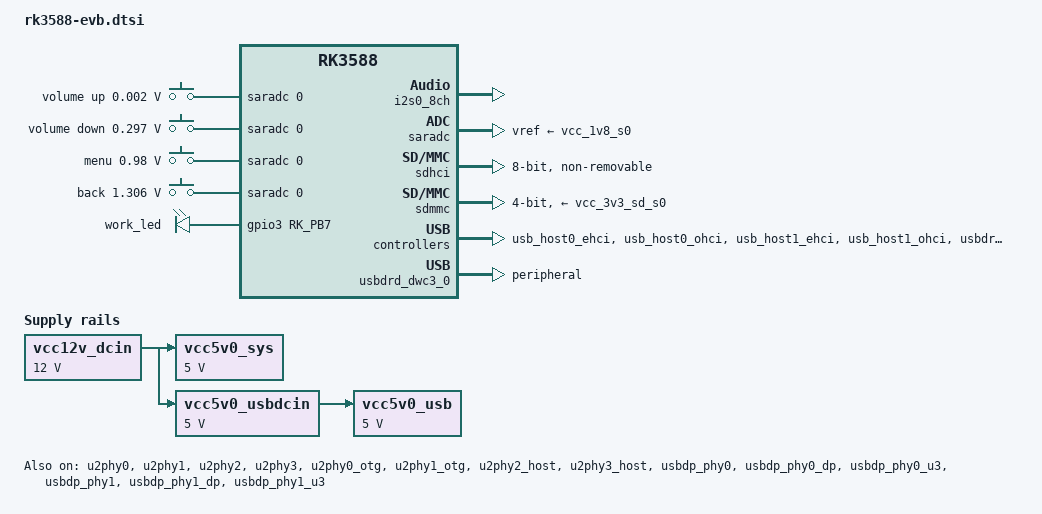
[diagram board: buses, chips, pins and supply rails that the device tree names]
// SPDX-License-Identifier: (GPL-2.0+ OR MIT)
/*
 * Copyright (c) 2021 Rockchip Electronics Co., Ltd.
 *
 */

#include <dt-bindings/gpio/gpio.h>
#include <dt-bindings/pwm/pwm.h>
#include <dt-bindings/pinctrl/rockchip.h>
#include <dt-bindings/input/rk-input.h>
#include <dt-bindings/display/drm_mipi_dsi.h>
#include <dt-bindings/sensor-dev.h>

/ {
	adc_keys: adc-keys {
		compatible = "adc-keys";
		io-channels = <&saradc 0>;
		io-channel-names = "buttons";
		keyup-threshold-microvolt = <1800000>;
		poll-interval = <100>;

		vol-up-key {
			label = "volume up";
			linux,code = <KEY_VOLUMEUP>;
			press-threshold-microvolt = <1750>;
		};

		vol-down-key {
			label = "volume down";
			linux,code = <KEY_VOLUMEDOWN>;
			press-threshold-microvolt = <297500>;
		};

		menu-key {
			label = "menu";
			linux,code = <KEY_MENU>;
			press-threshold-microvolt = <980000>;
		};

		back-key {
			label = "back";
			linux,code = <KEY_BACK>;
			press-threshold-microvolt = <1305500>;
		};
	};

	leds: leds {
		compatible = "gpio-leds";
		work_led: work {
			gpios = <&gpio3 RK_PB7 GPIO_ACTIVE_HIGH>;
			linux,default-trigger = "heartbeat";
		};
	};

	test-power {
		status = "okay";
	};

	vcc12v_dcin: vcc12v-dcin {
		compatible = "regulator-fixed";
		regulator-name = "vcc12v_dcin";
		regulator-always-on;
		regulator-boot-on;
		regulator-min-microvolt = <12000000>;
		regulator-max-microvolt = <12000000>;
	};

	vcc5v0_sys: vcc5v0-sys {
		compatible = "regulator-fixed";
		regulator-name = "vcc5v0_sys";
		regulator-always-on;
		regulator-boot-on;
		regulator-min-microvolt = <5000000>;
		regulator-max-microvolt = <5000000>;
		vin-supply = <&vcc12v_dcin>;
	};

	vcc5v0_usbdcin: vcc5v0-usbdcin {
		compatible = "regulator-fixed";
		regulator-name = "vcc5v0_usbdcin";
		regulator-always-on;
		regulator-boot-on;
		regulator-min-microvolt = <5000000>;
		regulator-max-microvolt = <5000000>;
		vin-supply = <&vcc12v_dcin>;
	};

	vcc5v0_usb: vcc5v0-usb {
		compatible = "regulator-fixed";
		regulator-name = "vcc5v0_usb";
		regulator-always-on;
		regulator-boot-on;
		regulator-min-microvolt = <5000000>;
		regulator-max-microvolt = <5000000>;
		vin-supply = <&vcc5v0_usbdcin>;
	};
};

&i2s0_8ch {
	status = "okay";
	rockchip,clk-trcm = <1>;
	pinctrl-0 = <&i2s0_lrck_tx
		     &i2s0_sclk_tx
		     &i2s0_sdi0
		     &i2s0_sdo0>;
};

&pinctrl {
	headphone {
		hp_det: hp-det {
			rockchip,pins = <1 RK_PD5 RK_FUNC_GPIO &pcfg_pull_down>;
		};
	};

	touch {
		touch_gpio: touch-gpio {
			rockchip,pins =
				<0 RK_PD2 RK_FUNC_GPIO &pcfg_pull_up>,
				<0 RK_PD3 RK_FUNC_GPIO &pcfg_pull_none>;
		};
	};
};

&saradc {
	status = "okay";
	vref-supply = <&vcc_1v8_s0>;
};

&sdhci {
	bus-width = <8>;
	no-sdio;
	no-sd;
	non-removable;
	max-frequency = <200000000>;
	status = "okay";
};

&sdmmc {
	max-frequency = <150000000>;
	no-sdio;
	no-mmc;
	bus-width = <4>;
	cap-mmc-highspeed;
	cap-sd-highspeed;
	disable-wp;
	sd-uhs-sdr104;
	vmmc-supply = <&vcc_3v3_sd_s0>;
	vqmmc-supply = <&vccio_sd_s0>;
	status = "okay";
};

&u2phy0 {
	status = "okay";
};

&u2phy1 {
	status = "okay";
};

&u2phy2 {
	status = "okay";
};

&u2phy3 {
	status = "okay";
};

&u2phy0_otg {
	status = "okay";
};

&u2phy1_otg {
	status = "okay";
};

&u2phy2_host {
	status = "okay";
};

&u2phy3_host {
	status = "okay";
};

&usb_host0_ehci {
	status = "okay";
};

&usb_host0_ohci {
	status = "okay";
};

&usb_host1_ehci {
	status = "okay";
};

&usb_host1_ohci {
	status = "okay";
};

&usbdp_phy0 {
	status = "okay";
};

&usbdp_phy0_dp {
	status = "okay";
};

&usbdp_phy0_u3 {
	status = "okay";
};

&usbdp_phy1 {
	status = "okay";
};

&usbdp_phy1_dp {
	status = "okay";
};

&usbdp_phy1_u3 {
	status = "okay";
};

&usbdrd3_0 {
	status = "okay";
};

&usbdrd_dwc3_0 {
	dr_mode = "peripheral";
	status = "okay";
};

&usbhost3_0 {
	status = "okay";
};

&usbhost_dwc3_0 {
	status = "okay";
};

&usbdrd3_1 {
	status = "okay";
};

&usbdrd_dwc3_1 {
	status = "okay";
};
